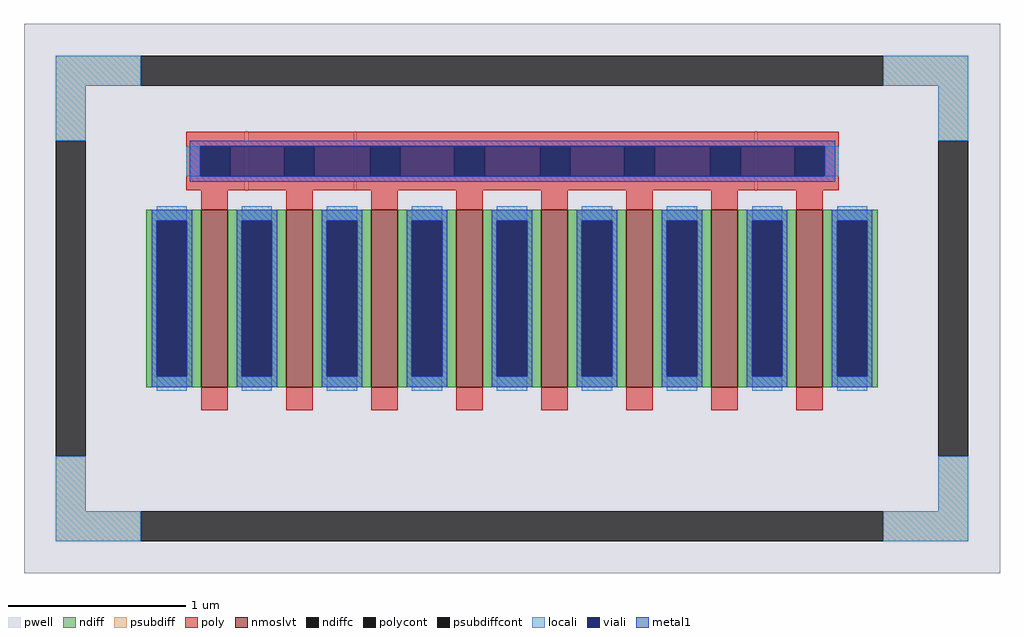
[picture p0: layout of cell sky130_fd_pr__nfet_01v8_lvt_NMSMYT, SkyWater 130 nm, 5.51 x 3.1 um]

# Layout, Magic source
magic
tech sky130A
magscale 1 2
<< pwell >>
rect -551 188 551 310
rect -551 122 -302 188
rect -298 122 -178 188
rect -176 122 274 188
rect 277 122 551 188
rect -551 -310 551 122
<< nmoslvt >>
rect -351 -100 -321 100
rect -255 -100 -225 100
rect -159 -100 -129 100
rect -63 -100 -33 100
rect 33 -100 63 100
rect 129 -100 159 100
rect 225 -100 255 100
rect 321 -100 351 100
<< ndiff >>
rect -413 88 -351 100
rect -413 -88 -401 88
rect -367 -88 -351 88
rect -413 -100 -351 -88
rect -321 88 -255 100
rect -321 -88 -305 88
rect -271 -88 -255 88
rect -321 -100 -255 -88
rect -225 88 -159 100
rect -225 -88 -209 88
rect -175 -88 -159 88
rect -225 -100 -159 -88
rect -129 88 -63 100
rect -129 -88 -113 88
rect -79 -88 -63 88
rect -129 -100 -63 -88
rect -33 88 33 100
rect -33 -88 -17 88
rect 17 -88 33 88
rect -33 -100 33 -88
rect 63 88 129 100
rect 63 -88 79 88
rect 113 -88 129 88
rect 63 -100 129 -88
rect 159 88 225 100
rect 159 -88 175 88
rect 209 -88 225 88
rect 159 -100 225 -88
rect 255 88 321 100
rect 255 -88 271 88
rect 305 -88 321 88
rect 255 -100 321 -88
rect 351 88 413 100
rect 351 -88 367 88
rect 401 -88 413 88
rect 351 -100 413 -88
<< ndiffc >>
rect -401 -88 -367 88
rect -305 -88 -271 88
rect -209 -88 -175 88
rect -113 -88 -79 88
rect -17 -88 17 88
rect 79 -88 113 88
rect 175 -88 209 88
rect 271 -88 305 88
rect 367 -88 401 88
<< psubdiff >>
rect -515 240 -419 274
rect 419 240 515 274
rect -515 178 -481 240
rect 481 178 515 240
rect -515 -240 -481 -178
rect 481 -240 515 -178
rect -515 -274 -419 -240
rect 419 -274 515 -240
<< psubdiffcont >>
rect -419 240 419 274
rect -515 -178 -481 178
rect 481 -178 515 178
rect -419 -274 419 -240
<< poly >>
rect -368 172 369 188
rect -368 138 -352 172
rect -318 138 -257 172
rect -223 138 -160 172
rect -126 138 -65 172
rect -31 138 32 172
rect 66 138 127 172
rect 161 138 224 172
rect 258 138 319 172
rect 353 138 369 172
rect -368 122 369 138
rect -351 100 -321 122
rect -255 100 -225 122
rect -159 100 -129 122
rect -63 100 -33 122
rect 33 100 63 122
rect 129 100 159 122
rect 225 100 255 122
rect 321 100 351 122
rect -351 -126 -321 -100
rect -255 -126 -225 -100
rect -159 -126 -129 -100
rect -63 -126 -33 -100
rect 33 -126 63 -100
rect 129 -126 159 -100
rect 225 -126 255 -100
rect 321 -126 351 -100
<< polycont >>
rect -352 138 -318 172
rect -257 138 -223 172
rect -160 138 -126 172
rect -65 138 -31 172
rect 32 138 66 172
rect 127 138 161 172
rect 224 138 258 172
rect 319 138 353 172
<< locali >>
rect -515 240 -419 274
rect 419 240 515 274
rect -515 178 -481 240
rect 481 178 515 240
rect -368 138 -352 172
rect 353 138 369 172
rect -401 88 -367 104
rect -401 -104 -367 -88
rect -305 88 -271 104
rect -305 -104 -271 -88
rect -209 88 -175 104
rect -209 -104 -175 -88
rect -113 88 -79 104
rect -113 -104 -79 -88
rect -17 88 17 104
rect -17 -104 17 -88
rect 79 88 113 104
rect 79 -104 113 -88
rect 175 88 209 104
rect 175 -104 209 -88
rect 271 88 305 104
rect 271 -104 305 -88
rect 367 88 401 104
rect 367 -104 401 -88
rect -515 -240 -481 -178
rect 481 -240 515 -178
rect -515 -274 -419 -240
rect 419 -274 515 -240
<< viali >>
rect -352 138 -318 172
rect -318 138 -257 172
rect -257 138 -223 172
rect -223 138 -160 172
rect -160 138 -126 172
rect -126 138 -65 172
rect -65 138 -31 172
rect -31 138 32 172
rect 32 138 66 172
rect 66 138 127 172
rect 127 138 161 172
rect 161 138 224 172
rect 224 138 258 172
rect 258 138 319 172
rect 319 138 353 172
rect -401 -88 -367 88
rect -305 -88 -271 88
rect -209 -88 -175 88
rect -113 -88 -79 88
rect -17 -88 17 88
rect 79 -88 113 88
rect 175 -88 209 88
rect 271 -88 305 88
rect 367 -88 401 88
<< metal1 >>
rect -364 172 365 178
rect -364 138 -352 172
rect 353 138 365 172
rect -364 132 365 138
rect -407 88 -361 100
rect -407 -88 -401 88
rect -367 -88 -361 88
rect -407 -100 -361 -88
rect -311 88 -265 100
rect -311 -88 -305 88
rect -271 -88 -265 88
rect -311 -100 -265 -88
rect -215 88 -169 100
rect -215 -88 -209 88
rect -175 -88 -169 88
rect -215 -100 -169 -88
rect -119 88 -73 100
rect -119 -88 -113 88
rect -79 -88 -73 88
rect -119 -100 -73 -88
rect -23 88 23 100
rect -23 -88 -17 88
rect 17 -88 23 88
rect -23 -100 23 -88
rect 73 88 119 100
rect 73 -88 79 88
rect 113 -88 119 88
rect 73 -100 119 -88
rect 169 88 215 100
rect 169 -88 175 88
rect 209 -88 215 88
rect 169 -100 215 -88
rect 265 88 311 100
rect 265 -88 271 88
rect 305 -88 311 88
rect 265 -100 311 -88
rect 361 88 407 100
rect 361 -88 367 88
rect 401 -88 407 88
rect 361 -100 407 -88
<< properties >>
string gencell sky130_fd_pr__nfet_01v8_lvt
string FIXED_BBOX -498 -257 498 257
string parameters w 1 l 0.150 m 1 nf 8 diffcov 100 polycov 100 guard 1 glc 1 grc 1 gtc 1 gbc 1 tbcov 100 rlcov 100 topc 1 botc 1 poverlap 0 doverlap 1 lmin 0.15 wmin 0.42 compatible {sky130_fd_pr__nfet_01v8 sky130_fd_pr__nfet_01v8_lvt  sky130_fd_bs_flash__special_sonosfet_star  sky130_fd_pr__nfet_g5v0d10v5 sky130_fd_pr__nfet_05v0_nvt  sky130_fd_pr__nfet_03v3_nvt} full_metal 1 viasrc 100 viadrn 100 viagate 100 viagb 0 viagr 0 viagl 0 viagt 0
string library sky130
<< end >>
